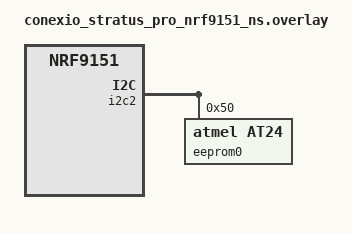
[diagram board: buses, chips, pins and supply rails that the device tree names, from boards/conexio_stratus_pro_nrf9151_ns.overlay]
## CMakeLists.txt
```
# Copyright (c) 2025 Conexio Technologies, Inc
# SPDX-License-Identifier: LicenseRef-Nordic-5-Clause

cmake_minimum_required(VERSION 3.20.0)

# Override BOARD_ROOT to always point at this SDK's boards/ directory.
# Using CACHE FORCE ensures this wins over any -DBOARD_ROOT passed by the IDE
# or build system, preventing "board defined multiple times" errors when
# multiple SDK versions are present in the environment.
set(BOARD_ROOT "${CMAKE_CURRENT_SOURCE_DIR}/../../.." CACHE PATH "" FORCE)

find_package(Zephyr REQUIRED HINTS $ENV{ZEPHYR_BASE})

project(ext_flash)

target_sources(app PRIVATE src/main.c)
```

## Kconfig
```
#
# Copyright (c) 2025 Conexio Technologies, Inc
#
# SPDX-License-Identifier: LicenseRef-Nordic-5-Clause
#
menu "External EEPROM sample"

config EEPROM_TEST_OFFSET
	int "EEPROM write/read test offset (bytes)"
	default 0
	help
	  Byte offset within the EEPROM where the test pattern is written.

config EEPROM_TEST_PATTERN_SIZE
	int "Number of test pattern bytes to write/read"
	default 32
	help
	  Number of bytes in the test pattern written to and read back from
	  the EEPROM. Must not exceed the EEPROM size minus the test offset.

endmenu

menu "Zephyr Kernel"
source "Kconfig.zephyr"
endmenu
```

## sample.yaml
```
# Copyright (c) 2025 Conexio Technologies, Inc
# SPDX-License-Identifier: LicenseRef-Nordic-5-Clause
sample:
  name: External EEPROM (24CW160) read/write

common:
  tags: eeprom i2c storage

tests:
  samples.ext_flash:
    platform_allow: conexio_stratus_pro_nrf9151_ns
    harness: console
    harness_config:
      type: multi_line
      ordered: true
      regex:
        - "EEPROM sample running"
        - "EEPROM size.*2048"
        - "Write.*OK"
        - "Read.*OK"
        - "Verify.*PASSED"
```

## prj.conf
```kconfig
# Copyright (c) 2026 Conexio Technologies, Inc
# SPDX-License-Identifier: LicenseRef-Nordic-5-Clause

CONFIG_LOG=y
CONFIG_PRINTK=y

# I2C bus support
CONFIG_I2C=y

# EEPROM driver (atmel,at24 — auto-enabled via DT, explicit for clarity)
CONFIG_EEPROM=y
CONFIG_EEPROM_AT24=y

CONFIG_MAIN_STACK_SIZE=1536

# Enable MCUboot bootloader support
CONFIG_BOOTLOADER_MCUBOOT=y

# TF-M minimal profile (required when not using full TF-M PS/ITS/OTP storage)
CONFIG_TFM_PROFILE_TYPE_MINIMAL=y
```

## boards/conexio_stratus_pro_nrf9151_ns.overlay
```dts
/*
 * Copyright (c) 2026 Conexio Technologies, Inc.
 * Author: Rajeev Piyare <rajeev@conexiotech.com>
 *
 * SPDX-License-Identifier: Apache-2.0
 *
 * Board overlay for Conexio Stratus Pro (nRF9151, Non-Secure).
 *
 * Declares the Microchip 24CW160 EEPROM as a child of i2c2.
 * i2c2 is already enabled in the board DTSI (SDA=P0.08, SCL=P0.07, 400 kHz).
 *
 * This node is required by DEVICE_DT_GET(DT_NODELABEL(eeprom0)) in main.c.
 */


#include <samples/cellular/nrf91_bootloader_partitions.dtsi>
#include <samples/cellular/nrf91_sram_partitions.dtsi>

&i2c2 {
	eeprom0: eeprom@50 {
		/* Microchip 24CW160 — 2 KiB (16 kbit) I2C EEPROM */
		compatible = "atmel,at24";
		reg = <0x50>;
		size = <DT_SIZE_K(2)>;
		pagesize = <32>;
		address-width = <16>;
		timeout = <5>;
	};
};
```

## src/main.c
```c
/*
 * Copyright (c) 2026 Conexio Technologies, Inc
 * Author: Rajeev Piyare <rajeev@conexiotech.com>
 *
 * SPDX-License-Identifier: LicenseRef-Nordic-5-Clause
 *
 * External EEPROM (Microchip 24CW160) read/write sample
 * for Conexio Stratus Pro (nRF9151).
 *
 * Hardware:
 *   - 24CW160: 2 KiB (16 kbit) I2C EEPROM, 32-byte pages
 *   - Connected on I2C2 (SDA=P0.08, SCL=P0.07) at address 0x50
 *   - Powered via the onboard sensor power rail (GPIO 26)
 *
 * The sample demonstrates:
 *   1. Querying EEPROM size with eeprom_get_size().
 *   2. Writing a test pattern with eeprom_write().
 *   3. Reading it back with eeprom_read().
 *   4. Verifying byte-by-byte that read data matches written data.
 *   5. Erasing (zeroing) the test region to leave the EEPROM clean.
 *
 * The test offset and pattern size are configurable via Kconfig:
 *   CONFIG_EEPROM_TEST_OFFSET        (default: 0)
 *   CONFIG_EEPROM_TEST_PATTERN_SIZE  (default: 32)
 */

#include <zephyr/kernel.h>
#include <zephyr/device.h>
#include <zephyr/drivers/eeprom.h>
#include <zephyr/sys/printk.h>
#include <zephyr/logging/log.h>
#include <string.h>

LOG_MODULE_REGISTER(ext_flash, LOG_LEVEL_INF);

/* Get the EEPROM device from the devicetree node label defined in the board DTSI */
#define EEPROM_NODE DT_NODELABEL(eeprom0)

/* Test parameters from Kconfig */
#define TEST_OFFSET  CONFIG_EEPROM_TEST_OFFSET
#define TEST_SIZE    CONFIG_EEPROM_TEST_PATTERN_SIZE

static const struct device *eeprom = DEVICE_DT_GET(EEPROM_NODE);

/**
 * @brief Fill a buffer with a simple rolling test pattern.
 *
 * Pattern: buf[i] = (uint8_t)(start_val + i)
 * This makes it easy to spot corruption or offset errors visually.
 */
static void fill_test_pattern(uint8_t *buf, size_t len, uint8_t start_val)
{
	for (size_t i = 0; i < len; i++) {
		buf[i] = (uint8_t)(start_val + i);
	}
}

/**
 * @brief Print a hex dump of a buffer for inspection.
 */
static void hex_dump(const char *label, const uint8_t *buf, size_t len)
{
	printk("%s (%zu bytes):\n", label, len);
	for (size_t i = 0; i < len; i++) {
		printk("%02X ", buf[i]);
		if ((i + 1) % 16 == 0) {
			printk("\n");
		}
	}
	if (len % 16 != 0) {
		printk("\n");
	}
}

int main(void)
{
	printk("EEPROM sample running on %s\n", CONFIG_BOARD);

	if (!device_is_ready(eeprom)) {
		LOG_ERR("EEPROM device not ready");
		return -ENODEV;
	}

	/* Query and report EEPROM size */
	size_t eeprom_size = eeprom_get_size(eeprom);

	LOG_INF("EEPROM device: %s", eeprom->name);
	LOG_INF("EEPROM size: %zu bytes", eeprom_size);

	/* Validate test parameters fit within the EEPROM */
	if ((TEST_OFFSET + TEST_SIZE) > eeprom_size) {
		LOG_ERR("Test region [%d..%d] exceeds EEPROM size (%zu bytes)",
			TEST_OFFSET, TEST_OFFSET + TEST_SIZE, eeprom_size);
		return -EINVAL;
	}

	uint8_t write_buf[TEST_SIZE];
	uint8_t read_buf[TEST_SIZE];

	/* --- Step 1: Write test pattern --- */
	fill_test_pattern(write_buf, TEST_SIZE, 0xA0);
	hex_dump("Write buffer", write_buf, TEST_SIZE);

	LOG_INF("Writing %d bytes to EEPROM offset 0x%04X...", TEST_SIZE, TEST_OFFSET);

	int ret = eeprom_write(eeprom, TEST_OFFSET, write_buf, TEST_SIZE);

	if (ret < 0) {
		LOG_ERR("Write FAILED (err %d)", ret);
		return ret;
	}
	LOG_INF("Write OK");

	/* Small delay to ensure the EEPROM write cycle completes.
	 * The 24CW160 datasheet specifies a max write cycle time of 5 ms.
	 */
	k_msleep(10);

	/* --- Step 2: Read back --- */
	memset(read_buf, 0, sizeof(read_buf));

	LOG_INF("Reading %d bytes from EEPROM offset 0x%04X...", TEST_SIZE, TEST_OFFSET);

	ret = eeprom_read(eeprom, TEST_OFFSET, read_buf, TEST_SIZE);
	if (ret < 0) {
		LOG_ERR("Read FAILED (err %d)", ret);
		return ret;
	}
	LOG_INF("Read OK");
	hex_dump("Read buffer", read_buf, TEST_SIZE);

	/* --- Step 3: Verify --- */
	if (memcmp(write_buf, read_buf, TEST_SIZE) == 0) {
		LOG_INF("Verify PASSED — read data matches written data");
	} else {
		LOG_ERR("Verify FAILED — mismatch detected");
		for (size_t i = 0; i < TEST_SIZE; i++) {
			if (write_buf[i] != read_buf[i]) {
				LOG_ERR("  byte[%zu]: wrote 0x%02X, read 0x%02X",
					i, write_buf[i], read_buf[i]);
			}
		}
		return -EIO;
	}

	/* --- Step 4: Erase (zero) the test region --- */
	LOG_INF("Erasing test region (writing zeros)...");

	uint8_t zero_buf[TEST_SIZE];

	memset(zero_buf, 0x00, TEST_SIZE);

	ret = eeprom_write(eeprom, TEST_OFFSET, zero_buf, TEST_SIZE);
	if (ret < 0) {
		LOG_ERR("Erase write FAILED (err %d)", ret);
		return ret;
	}
	k_msleep(10);

	/* Verify erase */
	memset(read_buf, 0xFF, sizeof(read_buf));
	ret = eeprom_read(eeprom, TEST_OFFSET, read_buf, TEST_SIZE);
	if (ret < 0) {
		LOG_ERR("Erase verify read FAILED (err %d)", ret);
		return ret;
	}

	if (memcmp(zero_buf, read_buf, TEST_SIZE) == 0) {
		LOG_INF("Erase verify PASSED — region is zeroed");
	} else {
		LOG_ERR("Erase verify FAILED");
		return -EIO;
	}

	LOG_INF("EEPROM sample complete");

	return 0;
}
```
